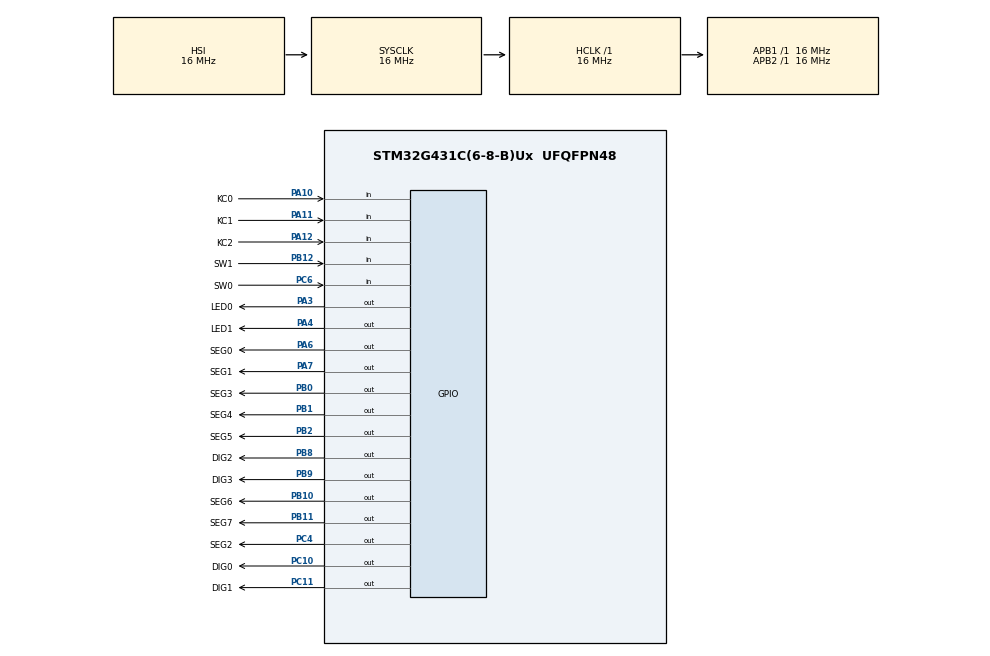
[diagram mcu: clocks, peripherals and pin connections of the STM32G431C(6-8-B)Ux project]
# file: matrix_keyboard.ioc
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Mcu.Family=STM32G4
Mcu.Name=STM32G431C(6-8-B)Ux
Mcu.Package=UFQFPN48
NVIC.PriorityGroup=NVIC_PRIORITYGROUP_4
PA10.GPIO_Label=KC0
PA10.GPIO_PuPd=GPIO_PULLDOWN
PA10.Signal=GPIO_Input
PA11.GPIO_Label=KC1
PA11.GPIO_PuPd=GPIO_PULLDOWN
PA11.Signal=GPIO_Input
PA12.GPIO_Label=KC2
PA12.GPIO_PuPd=GPIO_PULLDOWN
PA12.Signal=GPIO_Input
PA13.Mode=Serial_Wire
PA13.Signal=SYS_JTMS-SWDIO
PA14.Mode=Serial_Wire
PA14.Signal=SYS_JTCK-SWCLK
PA3.GPIO_Label=LED0
PA3.Signal=GPIO_Output
PA4.GPIO_Label=LED1
PA4.Signal=GPIO_Output
PA6.GPIO_Label=SEG0
PA6.Signal=GPIO_Output
PA7.GPIO_Label=SEG1
PA7.Signal=GPIO_Output
PB0.GPIO_Label=SEG3
PB0.Signal=GPIO_Output
PB1.GPIO_Label=SEG4
PB1.Signal=GPIO_Output
PB10.GPIO_Label=SEG6
PB10.Signal=GPIO_Output
PB11.GPIO_Label=SEG7
PB11.Signal=GPIO_Output
PB12.GPIO_Label=SW1
PB12.GPIO_PuPd=GPIO_PULLUP
PB12.Signal=GPIO_Input
PB2.GPIO_Label=SEG5
PB2.Signal=GPIO_Output
PB8-BOOT0.GPIO_Label=DIG2
PB8-BOOT0.Signal=GPIO_Output
PB9.GPIO_Label=DIG3
PB9.Signal=GPIO_Output
PC10.GPIO_Label=DIG0
PC10.Signal=GPIO_Output
PC11.GPIO_Label=DIG1
PC11.Signal=GPIO_Output
PC4.GPIO_Label=SEG2
PC4.Signal=GPIO_Output
PC6.GPIO_Label=SW0
PC6.GPIO_PuPd=GPIO_PULLUP
PC6.Signal=GPIO_Input
ProjectManager.HeapSize=0x200
ProjectManager.StackSize=0x400
ProjectManager.TargetToolchain=STM32CubeIDE
RCC.AHBFreq_Value=16000000
RCC.APB1Freq_Value=16000000
RCC.APB1TimFreq_Value=16000000
RCC.APB2Freq_Value=16000000
RCC.APB2TimFreq_Value=16000000
RCC.CortexFreq_Value=16000000
RCC.EXTERNAL_CLOCK_VALUE=12288000
RCC.HCLKFreq_Value=16000000
RCC.HSE_VALUE=8000000
RCC.HSI48_VALUE=48000000
RCC.HSI_VALUE=16000000
RCC.LSE_VALUE=32768
RCC.SYSCLKFreq_VALUE=16000000
RCC.USBFreq_Value=64000000
RCC.VCOOutputFreq_Value=128000000
VP_SYS_VS_DBSignals.Mode=DisableDeadBatterySignals
board=custom

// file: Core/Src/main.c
/* USER CODE BEGIN Header */
/**
  ******************************************************************************
  * @file           : main.c
  * @brief          : Main program body
  ******************************************************************************
  * @attention
  *
  * Copyright (c) 2024 STMicroelectronics.
  * All rights reserved.
  *
  * This software is licensed under terms that can be found in the LICENSE file
  * in the root directory of this software component.
  * If no LICENSE file comes with this software, it is provided AS-IS.
  *
  ******************************************************************************
  */
/* USER CODE END Header */
#include "main.h"

void SystemClock_Config(void);
static void MX_GPIO_Init(void);

/* USER CODE BEGIN 0 */
void set_segment_code (uint8_t code)
{
	HAL_GPIO_WritePin(SEG0_GPIO_Port, SEG0_Pin, code&1<<0 ? GPIO_PIN_SET:GPIO_PIN_RESET);
	HAL_GPIO_WritePin(SEG1_GPIO_Port, SEG1_Pin, code&1<<1 ? GPIO_PIN_SET:GPIO_PIN_RESET);
	HAL_GPIO_WritePin(SEG2_GPIO_Port, SEG2_Pin, code&1<<2 ? GPIO_PIN_SET:GPIO_PIN_RESET);
	HAL_GPIO_WritePin(SEG3_GPIO_Port, SEG3_Pin, code&1<<3 ? GPIO_PIN_SET:GPIO_PIN_RESET);
	HAL_GPIO_WritePin(SEG4_GPIO_Port, SEG4_Pin, code&1<<4 ? GPIO_PIN_SET:GPIO_PIN_RESET);
	HAL_GPIO_WritePin(SEG5_GPIO_Port, SEG5_Pin, code&1<<5 ? GPIO_PIN_SET:GPIO_PIN_RESET);
	HAL_GPIO_WritePin(SEG6_GPIO_Port, SEG6_Pin, code&1<<6 ? GPIO_PIN_SET:GPIO_PIN_RESET);
}
int scan_keyboard(void)
{
	//SCAN ROW0
	HAL_GPIO_WritePin(SEG0_GPIO_Port, SEG0_Pin, GPIO_PIN_SET);
	if (HAL_GPIO_ReadPin(KC0_GPIO_Port, KC0_Pin) == GPIO_PIN_SET) return 1;
	if (HAL_GPIO_ReadPin(KC1_GPIO_Port, KC1_Pin) == GPIO_PIN_SET) return 2;
	if (HAL_GPIO_ReadPin(KC2_GPIO_Port, KC2_Pin) == GPIO_PIN_SET) return 3;
	HAL_GPIO_WritePin(SEG0_GPIO_Port, SEG0_Pin, GPIO_PIN_RESET);
	//SCAN ROW1
	HAL_GPIO_WritePin(SEG1_GPIO_Port, SEG1_Pin, GPIO_PIN_SET);
	if (HAL_GPIO_ReadPin(KC0_GPIO_Port, KC0_Pin) == GPIO_PIN_SET) return 4;
	if (HAL_GPIO_ReadPin(KC1_GPIO_Port, KC1_Pin) == GPIO_PIN_SET) return 5;
	if (HAL_GPIO_ReadPin(KC2_GPIO_Port, KC2_Pin) == GPIO_PIN_SET) return 6;
	HAL_GPIO_WritePin(SEG1_GPIO_Port, SEG1_Pin, GPIO_PIN_RESET);
	//SCAN ROW2
	HAL_GPIO_WritePin(SEG2_GPIO_Port, SEG2_Pin, GPIO_PIN_SET);
	if (HAL_GPIO_ReadPin(KC0_GPIO_Port, KC0_Pin) == GPIO_PIN_SET) return 7;
	if (HAL_GPIO_ReadPin(KC1_GPIO_Port, KC1_Pin) == GPIO_PIN_SET) return 8;
	if (HAL_GPIO_ReadPin(KC2_GPIO_Port, KC2_Pin) == GPIO_PIN_SET) return 9;
	HAL_GPIO_WritePin(SEG2_GPIO_Port, SEG2_Pin, GPIO_PIN_RESET);
	//SCAN ROW3
	HAL_GPIO_WritePin(SEG3_GPIO_Port, SEG3_Pin, GPIO_PIN_SET);
	if (HAL_GPIO_ReadPin(KC0_GPIO_Port, KC0_Pin) == GPIO_PIN_SET) return 12;
	if (HAL_GPIO_ReadPin(KC1_GPIO_Port, KC1_Pin) == GPIO_PIN_SET) return 0;
	if (HAL_GPIO_ReadPin(KC2_GPIO_Port, KC2_Pin) == GPIO_PIN_SET) return 13;
	HAL_GPIO_WritePin(SEG3_GPIO_Port, SEG3_Pin, GPIO_PIN_RESET);
	if (HAL_GPIO_ReadPin(SW0_GPIO_Port, SW0_Pin) == GPIO_PIN_RESET) return 10;
	if (HAL_GPIO_ReadPin(SW1_GPIO_Port, SW1_Pin) == GPIO_PIN_RESET) return 14;
	return -1;
}

uint8_t codes[]={0x3f,0x06,0x5b,0x4f,0x66,0x6d,0x7d,0x07,0x7f,0x6f};
// 显示0-9
void set_segment_number (uint8_t number)
{
	set_segment_code(codes[number]);
}
void reset_segment(void)
{
	HAL_GPIO_WritePin(SEG0_GPIO_Port, SEG0_Pin,GPIO_PIN_RESET);
	HAL_GPIO_WritePin(SEG1_GPIO_Port, SEG1_Pin,GPIO_PIN_RESET);
	HAL_GPIO_WritePin(SEG2_GPIO_Port, SEG2_Pin,GPIO_PIN_RESET);
	HAL_GPIO_WritePin(SEG3_GPIO_Port, SEG3_Pin,GPIO_PIN_RESET);
	HAL_GPIO_WritePin(SEG4_GPIO_Port, SEG4_Pin,GPIO_PIN_RESET);
	HAL_GPIO_WritePin(SEG5_GPIO_Port, SEG5_Pin,GPIO_PIN_RESET);
	HAL_GPIO_WritePin(SEG6_GPIO_Port, SEG6_Pin,GPIO_PIN_RESET);
}
int operate(int a,int b, int operator)
{
	int ans;
	switch(operator)
	{
		case 0:
			ans=a+b;
			break;
		case 1:
			ans=a-b;
			break;
		case 2:
			ans=a*b;
			break;
		case 3:
			ans=a/b;
			break;
		default:
			ans=a;
	}
	if (ans<0 || ans >=10000) return 0;
	return ans;
}

void print_num(int display,uint8_t delayTime, uint8_t shouldDelay){
	set_segment_number(display%10);
	HAL_GPIO_WritePin(DIG0_GPIO_Port, DIG0_Pin, GPIO_PIN_SET);
	if(shouldDelay) HAL_Delay(delayTime);
	HAL_GPIO_WritePin(DIG0_GPIO_Port, DIG0_Pin, GPIO_PIN_RESET);
	set_segment_number((display/10)%10);
	HAL_GPIO_WritePin(DIG1_GPIO_Port, DIG1_Pin, GPIO_PIN_SET);
	if(shouldDelay) HAL_Delay(delayTime);
	HAL_GPIO_WritePin(DIG1_GPIO_Port, DIG1_Pin, GPIO_PIN_RESET);
	set_segment_number((display/100)%10);
	HAL_GPIO_WritePin(DIG2_GPIO_Port, DIG2_Pin, GPIO_PIN_SET);
	if(shouldDelay) HAL_Delay(delayTime);
	HAL_GPIO_WritePin(DIG2_GPIO_Port, DIG2_Pin, GPIO_PIN_RESET);
	set_segment_number((display/1000)%10);
	HAL_GPIO_WritePin(DIG3_GPIO_Port, DIG3_Pin, GPIO_PIN_SET);
	if(shouldDelay) HAL_Delay(delayTime);
	HAL_GPIO_WritePin(DIG3_GPIO_Port, DIG3_Pin, GPIO_PIN_RESET);
	reset_segment();
}

void print_digit(int position, int value) {
    reset_segment();
    // 根据位置重置其他数码管
    HAL_GPIO_WritePin(DIG0_GPIO_Port, DIG0_Pin, (position == 0) ? GPIO_PIN_SET : GPIO_PIN_RESET);
    HAL_GPIO_WritePin(DIG1_GPIO_Port, DIG1_Pin, (position == 1) ? GPIO_PIN_SET : GPIO_PIN_RESET);
    HAL_GPIO_WritePin(DIG2_GPIO_Port, DIG2_Pin, (position == 2) ? GPIO_PIN_SET : GPIO_PIN_RESET);
    HAL_GPIO_WritePin(DIG3_GPIO_Port, DIG3_Pin, (position == 3) ? GPIO_PIN_SET : GPIO_PIN_RESET);
    // 设置要显示的数字
    set_segment_number(value);
}

int digit[4]={0};
void get_digit(int value) {
    // 确保 value 是一个四位数
    if (value < 0 || value > 9999) {
        return;
    }
    // 从低位到高位提取每一位数字
    for (int i = 0; i < 4; i++) {
        digit[i] = value % 10;  // 提取最低位数字
        value /= 10;            // 除以 10，去掉最低位
    }
}
/* USER CODE END 0 */

int main(void)
{

  /* MCU Configuration--------------------------------------------------------*/

  /* Reset of all peripherals, Initializes the Flash interface and the Systick. */
  HAL_Init();
  // HAL_SYSTICK_Config(SystemCoreClock / 1000); // 配置 SysTick 产生 1 毫秒中断

  /* Configure the system clock */
  SystemClock_Config();

  /* USER CODE BEGIN SysInit */
  uint32_t desired_frequency = 1000; // 1 kHz
  uint32_t reload_value = SystemCoreClock / desired_frequency - 1;
  HAL_SYSTICK_Config(reload_value);
  /* USER CODE END SysInit */

  /* Initialize all configured peripherals */
  MX_GPIO_Init();
  /* USER CODE BEGIN 2 */
  int answer=0;
  int operator =0;
  int display=0;
  int i;
  int shouldDelay=1;
  int delayTime=200;
  /* USER CODE END 2 */
  /* Infinite loop */
  while (1)
  {

    /* USER CODE BEGIN 3 */
	i=-1;
	if(flag>=5){i=scan_keyboard();}

  	if (i>=0 && i<10)
  	{
  		// 键盘输入数字
  		if(shouldDelay) HAL_Delay(delayTime);
  		display=display*10+i;
  		if (display >=10000) display=0;
  	}
  	else if (i>=10 && i<14)
  	{
  		// 键盘输入运算符
  		if(shouldDelay) HAL_Delay(delayTime);
  		// answer=operate(answer,display,operator);
  		answer=display;
  		display=0;// 输入运算符时，屏幕上不应有显示
  		operator=i-10;
  	}
  	else if (i==14)
  	{
  		// 键盘输入等于号
  		if(shouldDelay) HAL_Delay(delayTime);
  		answer=operate(answer,display,operator);
  		display=answer;
  		// 清空operator，防止出现空按=时，answer被自己改变
  		operator=-1;
  	}
  	get_digit(display);
  	//HAL_Delay(2);
  }
  /* USER CODE END 3 */
}

void SystemClock_Config(void)
{
  RCC_OscInitTypeDef RCC_OscInitStruct = {0};
  RCC_ClkInitTypeDef RCC_ClkInitStruct = {0};

  /** Configure the main internal regulator output voltage
  */
  HAL_PWREx_ControlVoltageScaling(PWR_REGULATOR_VOLTAGE_SCALE1);

  /** Initializes the RCC Oscillators according to the specified parameters
  * in the RCC_OscInitTypeDef structure.
  */
  RCC_OscInitStruct.OscillatorType = RCC_OSCILLATORTYPE_HSI;
  RCC_OscInitStruct.HSIState = RCC_HSI_ON;
  RCC_OscInitStruct.HSICalibrationValue = RCC_HSICALIBRATION_DEFAULT;
  RCC_OscInitStruct.PLL.PLLState = RCC_PLL_NONE;
  if (HAL_RCC_OscConfig(&RCC_OscInitStruct) != HAL_OK)
  {
    Error_Handler();
  }

  /** Initializes the CPU, AHB and APB buses clocks
  */
  RCC_ClkInitStruct.ClockType = RCC_CLOCKTYPE_HCLK|RCC_CLOCKTYPE_SYSCLK
                              |RCC_CLOCKTYPE_PCLK1|RCC_CLOCKTYPE_PCLK2;
  RCC_ClkInitStruct.SYSCLKSource = RCC_SYSCLKSOURCE_HSI;
  RCC_ClkInitStruct.AHBCLKDivider = RCC_SYSCLK_DIV1;
  RCC_ClkInitStruct.APB1CLKDivider = RCC_HCLK_DIV1;
  RCC_ClkInitStruct.APB2CLKDivider = RCC_HCLK_DIV1;

  if (HAL_RCC_ClockConfig(&RCC_ClkInitStruct, FLASH_LATENCY_0) != HAL_OK)
  {
    Error_Handler();
  }
}

static void MX_GPIO_Init(void)
{
  GPIO_InitTypeDef GPIO_InitStruct = {0};

  /* GPIO Ports Clock Enable */
  __HAL_RCC_GPIOA_CLK_ENABLE();
  __HAL_RCC_GPIOC_CLK_ENABLE();
  __HAL_RCC_GPIOB_CLK_ENABLE();

  /*Configure GPIO pin Output Level */
  HAL_GPIO_WritePin(GPIOA, LED0_Pin|LED1_Pin|SEG0_Pin|SEG1_Pin, GPIO_PIN_RESET);

  /*Configure GPIO pin Output Level */
  HAL_GPIO_WritePin(GPIOC, SEG2_Pin|DIG0_Pin|DIG1_Pin, GPIO_PIN_RESET);

  /*Configure GPIO pin Output Level */
  HAL_GPIO_WritePin(GPIOB, SEG3_Pin|SEG4_Pin|SEG5_Pin|SEG6_Pin
                          |SEG7_Pin|DIG2_Pin|DIG3_Pin, GPIO_PIN_RESET);

  /*Configure GPIO pins : LED0_Pin LED1_Pin SEG0_Pin SEG1_Pin */
  GPIO_InitStruct.Pin = LED0_Pin|LED1_Pin|SEG0_Pin|SEG1_Pin;
  GPIO_InitStruct.Mode = GPIO_MODE_OUTPUT_PP;
  GPIO_InitStruct.Pull = GPIO_NOPULL;
  GPIO_InitStruct.Speed = GPIO_SPEED_FREQ_LOW;
  HAL_GPIO_Init(GPIOA, &GPIO_InitStruct);

  /*Configure GPIO pins : SEG2_Pin DIG0_Pin DIG1_Pin */
  GPIO_InitStruct.Pin = SEG2_Pin|DIG0_Pin|DIG1_Pin;
  GPIO_InitStruct.Mode = GPIO_MODE_OUTPUT_PP;
  GPIO_InitStruct.Pull = GPIO_NOPULL;
  GPIO_InitStruct.Speed = GPIO_SPEED_FREQ_LOW;
  HAL_GPIO_Init(GPIOC, &GPIO_InitStruct);

  /*Configure GPIO pins : SEG3_Pin SEG4_Pin SEG5_Pin SEG6_Pin
                           SEG7_Pin DIG2_Pin DIG3_Pin */
  GPIO_InitStruct.Pin = SEG3_Pin|SEG4_Pin|SEG5_Pin|SEG6_Pin
                          |SEG7_Pin|DIG2_Pin|DIG3_Pin;
  GPIO_InitStruct.Mode = GPIO_MODE_OUTPUT_PP;
  GPIO_InitStruct.Pull = GPIO_NOPULL;
  GPIO_InitStruct.Speed = GPIO_SPEED_FREQ_LOW;
  HAL_GPIO_Init(GPIOB, &GPIO_InitStruct);

  /*Configure GPIO pin : SW1_Pin */
  GPIO_InitStruct.Pin = SW1_Pin;
  GPIO_InitStruct.Mode = GPIO_MODE_INPUT;
  GPIO_InitStruct.Pull = GPIO_PULLUP;
  HAL_GPIO_Init(SW1_GPIO_Port, &GPIO_InitStruct);

  /*Configure GPIO pin : SW0_Pin */
  GPIO_InitStruct.Pin = SW0_Pin;
  GPIO_InitStruct.Mode = GPIO_MODE_INPUT;
  GPIO_InitStruct.Pull = GPIO_PULLUP;
  HAL_GPIO_Init(SW0_GPIO_Port, &GPIO_InitStruct);

  /*Configure GPIO pins : KC0_Pin KC1_Pin KC2_Pin */
  GPIO_InitStruct.Pin = KC0_Pin|KC1_Pin|KC2_Pin;
  GPIO_InitStruct.Mode = GPIO_MODE_INPUT;
  GPIO_InitStruct.Pull = GPIO_PULLDOWN;
  HAL_GPIO_Init(GPIOA, &GPIO_InitStruct);

}

void Error_Handler(void)
{
  __disable_irq();
  while (1)
  {
  }
}
